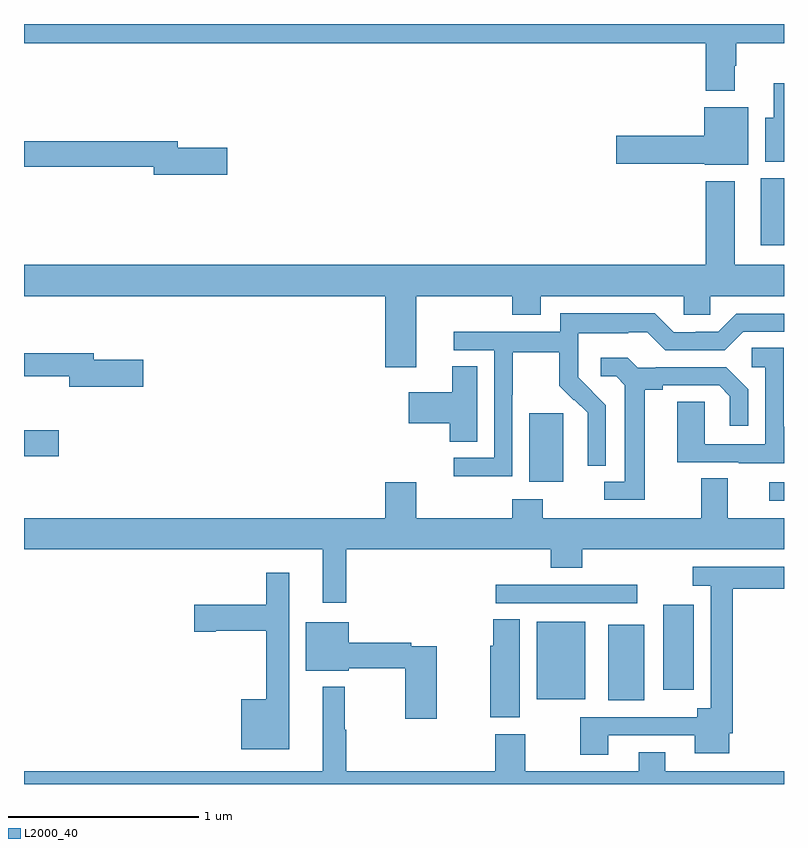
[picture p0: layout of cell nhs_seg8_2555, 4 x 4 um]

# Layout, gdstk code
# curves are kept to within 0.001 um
import gdstk
lib = gdstk.Library(unit=1e-6, precision=1e-09)
def R(c, l, rs):  # rectangles x0, y0, x1, y1
    for r in rs: c.add(gdstk.rectangle(r[:2], r[2:], *l))
def P(c, l, *ps):  # polygons
    for p in ps: c.add(gdstk.Polygon(p, *l))
L2000_40 = (2000, 40)

nhs_seg8_2555 = lib.new_cell('nhs_seg8_2555')
R(nhs_seg8_2555, L2000_40, [(274.076,1146.341,274.264,1146.739), (273.698,1146.347,273.955,1146.754), (274.364,1146.396,274.525,1146.844), (273.483,1146.852,274.228,1146.948), (274.923,1147.392,275,1147.488), (273.659,1147.49,273.838,1147.851), (271,1147.624,271.183,1147.761), (274.877,1148.736,275,1149.088)])
P(nhs_seg8_2555, L2000_40, [(274.741,1149.68),(274.749,1149.68),(274.749,1149.8),(275,1149.8),(275,1149.9),(271,1149.9),(271,1149.8),(274.589,1149.8),(274.589,1149.548),(274.741,1149.548)],
  [(275,1149.589),(274.946,1149.589),(274.946,1149.406),(274.901,1149.406),(274.901,1149.176),(275,1149.176)],
  [(274.813,1149.463),(274.58,1149.463),(274.58,1149.311),(274.116,1149.311),(274.116,1149.164),(274.584,1149.164),(274.584,1149.158),(274.813,1149.158)],
  [(272.071,1149.248),(271.81,1149.248),(271.81,1149.284),(271,1149.284),(271,1149.148),(271.682,1149.148),(271.682,1149.106),(272.071,1149.106)],
  [(273.064,1148.468),(273.569,1148.468),(273.569,1148.369),(273.721,1148.369),(273.721,1148.468),(274.473,1148.468),(274.473,1148.37),(274.611,1148.37),(274.611,1148.468),(275,1148.468),(275,1148.632),(274.741,1148.632),(274.741,1149.073),(274.589,1149.073),(274.589,1148.632),(271,1148.632),(271,1148.468),(272.9,1148.468),(272.9,1148.094),(273.064,1148.094)],
  [(273.57,1147.948),(273.573,1147.948),(273.573,1148.172),(273.817,1148.172),(273.817,1147.997),(273.894,1147.92),(273.897,1147.923),(273.968,1147.853),(273.968,1147.73),(273.966,1147.73),(273.966,1147.576),(274.062,1147.576),(274.062,1147.894),(273.916,1148.042),(273.916,1148.139),(273.918,1148.139),(273.918,1148.273),(274.181,1148.273),(274.181,1148.277),(274.281,1148.277),(274.374,1148.184),(274.689,1148.184),(274.785,1148.28),(275,1148.28),(275,1148.376),(274.749,1148.376),(274.653,1148.28),(274.535,1148.28),(274.535,1148.277),(274.419,1148.277),(274.319,1148.377),(273.822,1148.377),(273.822,1148.28),(273.261,1148.28),(273.261,1148.184),(273.474,1148.184),(273.474,1147.617),(273.261,1147.617),(273.261,1147.519),(273.57,1147.519)],
  [(275,1147.779),(274.998,1147.779),(274.998,1148.195),(274.83,1148.195),(274.83,1148.094),(274.902,1148.094),(274.902,1147.689),(274.584,1147.689),(274.584,1147.913),(274.439,1147.913),(274.439,1147.593),(274.763,1147.593),(274.763,1147.589),(275,1147.589)],
  [(271.627,1148.133),(271.366,1148.133),(271.366,1148.167),(271,1148.167),(271,1148.046),(271.238,1148.046),(271.238,1147.991),(271.627,1147.991)],
  [(274.267,1147.976),(274.363,1147.976),(274.363,1147.998),(274.658,1147.998),(274.715,1147.941),(274.715,1147.785),(274.812,1147.785),(274.812,1147.978),(274.696,1148.094),(274.324,1148.094),(274.324,1148.091),(274.23,1148.091),(274.178,1148.143),(274.035,1148.143),(274.035,1148.046),(274.116,1148.046),(274.163,1147.999),(274.163,1147.491),(274.053,1147.491),(274.053,1147.395),(274.267,1147.395)],
  [(273.385,1148.099),(273.254,1148.099),(273.254,1147.963),(273.024,1147.963),(273.024,1147.798),(273.242,1147.798),(273.242,1147.702),(273.385,1147.702)],
  [(272.695,1147.136),(273.773,1147.136),(273.773,1147.037),(273.938,1147.037),(273.938,1147.136),(275,1147.136),(275,1147.3),(274.705,1147.3),(274.705,1147.508),(274.565,1147.508),(274.565,1147.3),(273.729,1147.3),(273.729,1147.399),(273.569,1147.399),(273.569,1147.3),(273.064,1147.3),(273.064,1147.489),(272.9,1147.489),(272.9,1147.3),(271,1147.3),(271,1147.136),(272.573,1147.136),(272.573,1146.855),(272.695,1146.855)],
  [(274.075,1146.156),(274.529,1146.156),(274.529,1146.062),(274.711,1146.062),(274.711,1146.166),(274.73,1146.166),(274.73,1146.928),(275,1146.928),(275,1147.044),(274.521,1147.044),(274.521,1146.944),(274.614,1146.944),(274.614,1146.298),(274.544,1146.298),(274.544,1146.252),(273.928,1146.252),(273.928,1146.054),(274.075,1146.054)],
  [(272.395,1147.012),(272.274,1147.012),(272.274,1146.843),(271.896,1146.843),(271.896,1146.701),(272.008,1146.701),(272.008,1146.706),(272.274,1146.706),(272.274,1146.346),(272.144,1146.346),(272.144,1146.083),(272.395,1146.083)],
  [(273.61,1146.767),(273.469,1146.767),(273.469,1146.627),(273.455,1146.627),(273.455,1146.251),(273.61,1146.251)],
  [(273.172,1146.624),(273.038,1146.624),(273.038,1146.644),(272.71,1146.644),(272.71,1146.751),(272.483,1146.751),(272.483,1146.497),(272.71,1146.497),(272.71,1146.508),(273.007,1146.508),(273.007,1146.243),(273.172,1146.243)],
  [(274.235,1146.067),(274.235,1145.968),(273.639,1145.968),(273.639,1146.163),(273.479,1146.163),(273.479,1145.968),(272.695,1145.968),(272.695,1146.185),(272.687,1146.185),(272.687,1146.412),(272.573,1146.412),(272.573,1145.968),(271,1145.968),(271,1145.9),(275,1145.9),(275,1145.968),(274.375,1145.968),(274.375,1146.067)])

lib.write_gds('nhs_seg8_2555.gds')
